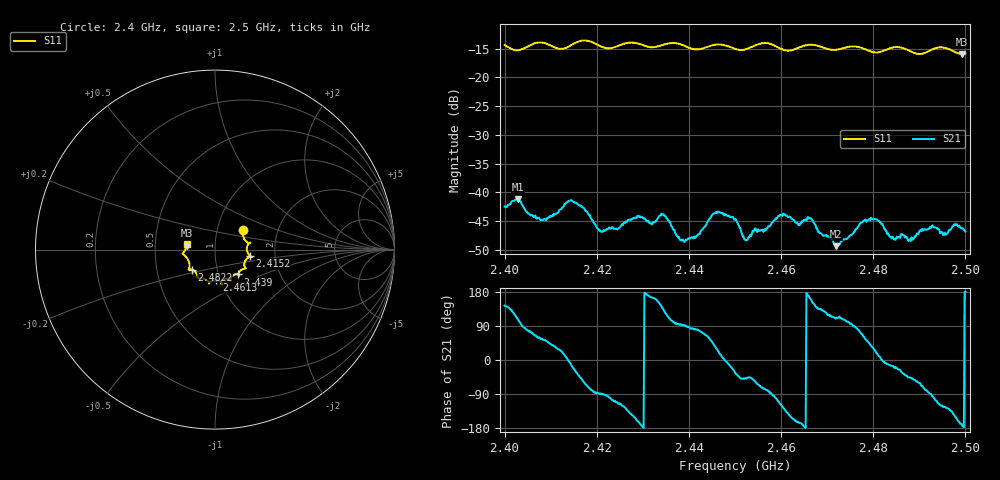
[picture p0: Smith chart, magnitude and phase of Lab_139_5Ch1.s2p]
# Hz S RI R 50
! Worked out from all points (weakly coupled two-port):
!   601 points, 2.4 GHz to 2.5 GHz, reference 50 ohm
!   highest |S21| = -41.22 dB at 2.4028 GHz (marker M1); lowest = -49.4 dB at 2.4718 GHz (marker M2)
!   lowest |S11| = -15.9 dB at 2.4993 GHz (marker M3), VSWR 1.38, Z = 36.3 + j1.59 ohm
!   |S11| at or under -10 dB: start of sweep to end of sweep
!   S12 and S22 are empty: the file has one direction only
!   S11 on the Smith chart (normalised r, x): 2.4 GHz: 1.33, +0.31; 2.4152 GHz: 1.48, -0.11; 2.439 GHz: 1.24, -0.36; 2.4613 GHz: 0.96, -0.34; 2.4822 GHz: 0.76, -0.17; 2.5 GHz: 0.73, +0.05
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2.4e9  0.1562 0.1108  -0.00608 0.00446  0 0  0 0
2.402833e9  0.1601 0.0637  -0.00268 0.00826  0 0  0 0
2.408167e9  0.1971 0.0394  0.00324 0.00477  0 0  0 0
2.415167e9  0.195 -0.036  0.00738 -0.00361  0 0  0 0
2.416667e9  0.2047 -0.042  0.00504 -0.00577  0 0  0 0
2.421e9  0.179 -0.049  -5.94e-05 -0.00455  0 0  0 0
2.433333e9  0.1321 -0.1321  -0.00539 0.00266  0 0  0 0
2.434833e9  0.1314 -0.1434  -0.00353 0.00517  0 0  0 0
2.439e9  0.1281 -0.1385  -1.52e-05 0.0037  0 0  0 0
2.445667e9  0.0851 -0.173  0.00536 0.00387  0 0  0 0
2.45e9  0.0689 -0.1636  0.00492 -0.00321  0 0  0 0
2.4525e9  0.0423 -0.1712  0.00254 -0.0029  0 0  0 0
2.461333e9  0.00716 -0.171  -0.00468 -0.00408  0 0  0 0
2.466667e9  -0.0338 -0.1897  -0.00527 0.00243  0 0  0 0
2.471833e9  -0.0636 -0.1618  -0.00111 0.00322  0 0  0 0
2.477833e9  -0.0967 -0.1503  0.00264 0.005  0 0  0 0
2.482167e9  -0.1281 -0.1115  0.00508 -0.00036  0 0  0 0
2.483333e9  -0.1395 -0.1101  0.00417 -0.000916  0 0  0 0
2.488167e9  -0.1418 -0.0905  0.0026 -0.00275  0 0  0 0
2.492833e9  -0.1732 -0.0286  -0.00053 -0.00515  0 0  0 0
2.499333e9  -0.1584 0.0214  -0.00484 -0.000519  0 0  0 0
2.5e9  -0.1578 0.0335  -0.00456 3.88e-05  0 0  0 0
